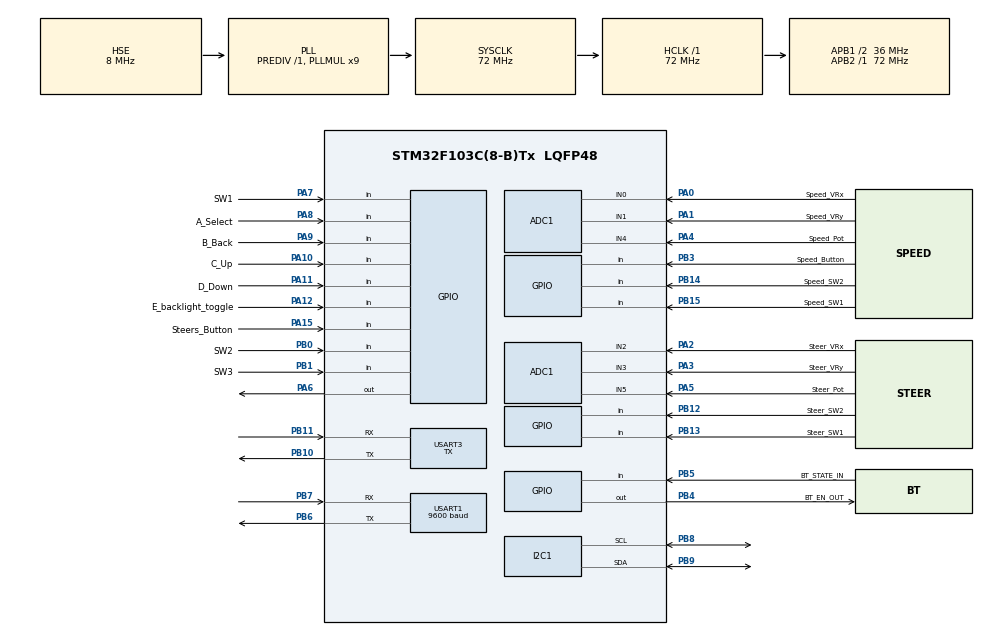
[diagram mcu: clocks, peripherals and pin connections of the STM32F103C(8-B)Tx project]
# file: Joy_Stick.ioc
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ADC1.Channel-0\#ChannelRegularConversion=ADC_CHANNEL_0
ADC1.Channel-10\#ChannelRegularConversion=ADC_CHANNEL_4
ADC1.Channel-11\#ChannelRegularConversion=ADC_CHANNEL_5
ADC1.Channel-7\#ChannelRegularConversion=ADC_CHANNEL_1
ADC1.Channel-8\#ChannelRegularConversion=ADC_CHANNEL_2
ADC1.Channel-9\#ChannelRegularConversion=ADC_CHANNEL_3
ADC1.ContinuousConvMode=ENABLE
ADC1.EnableAnalogWatchDog=false
ADC1.NbrOfConversion=6
ADC1.NbrOfConversionFlag=1
ADC1.Rank-0\#ChannelRegularConversion=1
ADC1.Rank-10\#ChannelRegularConversion=5
ADC1.Rank-11\#ChannelRegularConversion=6
ADC1.Rank-7\#ChannelRegularConversion=2
ADC1.Rank-8\#ChannelRegularConversion=3
ADC1.Rank-9\#ChannelRegularConversion=4
ADC1.SamplingTime-0\#ChannelRegularConversion=ADC_SAMPLETIME_1CYCLE_5
ADC1.SamplingTime-10\#ChannelRegularConversion=ADC_SAMPLETIME_1CYCLE_5
ADC1.SamplingTime-11\#ChannelRegularConversion=ADC_SAMPLETIME_1CYCLE_5
ADC1.SamplingTime-7\#ChannelRegularConversion=ADC_SAMPLETIME_1CYCLE_5
ADC1.SamplingTime-8\#ChannelRegularConversion=ADC_SAMPLETIME_1CYCLE_5
ADC1.SamplingTime-9\#ChannelRegularConversion=ADC_SAMPLETIME_1CYCLE_5
ADC1.master=1
Dma.ADC1.1.Direction=DMA_PERIPH_TO_MEMORY
Dma.ADC1.1.Instance=DMA1_Channel1
Dma.ADC1.1.MemDataAlignment=DMA_MDATAALIGN_WORD
Dma.ADC1.1.MemInc=DMA_MINC_ENABLE
Dma.ADC1.1.Mode=DMA_CIRCULAR
Dma.ADC1.1.PeriphDataAlignment=DMA_PDATAALIGN_WORD
Dma.ADC1.1.PeriphInc=DMA_PINC_DISABLE
Dma.ADC1.1.Priority=DMA_PRIORITY_LOW
Dma.Request0=USART3_TX
Dma.Request1=ADC1
Dma.Request2=USART1_TX
Dma.USART1_TX.2.Direction=DMA_MEMORY_TO_PERIPH
Dma.USART1_TX.2.Instance=DMA1_Channel4
Dma.USART1_TX.2.MemDataAlignment=DMA_MDATAALIGN_BYTE
Dma.USART1_TX.2.MemInc=DMA_MINC_ENABLE
Dma.USART1_TX.2.Mode=DMA_CIRCULAR
Dma.USART1_TX.2.PeriphDataAlignment=DMA_PDATAALIGN_BYTE
Dma.USART1_TX.2.PeriphInc=DMA_PINC_DISABLE
Dma.USART1_TX.2.Priority=DMA_PRIORITY_LOW
Dma.USART3_TX.0.Direction=DMA_MEMORY_TO_PERIPH
Dma.USART3_TX.0.Instance=DMA1_Channel2
Dma.USART3_TX.0.MemDataAlignment=DMA_MDATAALIGN_BYTE
Dma.USART3_TX.0.MemInc=DMA_MINC_ENABLE
Dma.USART3_TX.0.Mode=DMA_CIRCULAR
Dma.USART3_TX.0.PeriphDataAlignment=DMA_PDATAALIGN_BYTE
Dma.USART3_TX.0.PeriphInc=DMA_PINC_DISABLE
Dma.USART3_TX.0.Priority=DMA_PRIORITY_LOW
Mcu.Family=STM32F1
Mcu.Name=STM32F103C(8-B)Tx
Mcu.Package=LQFP48
NVIC.ADC1_2_IRQn=true\:0\:0\:false\:false\:true\:true\:true\:true
NVIC.DMA1_Channel1_IRQn=true\:0\:0\:false\:false\:true\:false\:true\:true
NVIC.DMA1_Channel2_IRQn=true\:0\:0\:false\:false\:true\:false\:true\:true
NVIC.DMA1_Channel4_IRQn=true\:0\:0\:false\:false\:true\:false\:true\:true
NVIC.PriorityGroup=NVIC_PRIORITYGROUP_4
NVIC.USART3_IRQn=true\:0\:0\:false\:false\:true\:true\:true\:true
PA0-WKUP.GPIO_Label=Speed_VRx
PA0-WKUP.Signal=ADCx_IN0
PA1.GPIO_Label=Speed_VRy
PA1.Signal=ADCx_IN1
PA10.GPIO_Label=C_Up
PA10.GPIO_PuPd=GPIO_PULLUP
PA10.Signal=GPIO_Input
PA11.GPIO_Label=D_Down
PA11.GPIO_PuPd=GPIO_PULLUP
PA11.Signal=GPIO_Input
PA12.GPIO_Label=E_backlight_toggle
PA12.GPIO_PuPd=GPIO_PULLDOWN
PA12.Signal=GPIO_Input
PA15.GPIO_Label=Steers_Button
PA15.GPIO_PuPd=GPIO_PULLUP
PA15.Signal=GPIO_Input
PA2.GPIO_Label=Steer_VRx
PA2.Signal=ADCx_IN2
PA3.GPIO_Label=Steer_VRy
PA3.Signal=ADCx_IN3
PA4.GPIO_Label=Speed_Pot
PA4.Signal=ADCx_IN4
PA5.GPIO_Label=Steer_Pot
PA5.Signal=ADCx_IN5
PA6.Signal=GPIO_Output
PA7.GPIO_Label=SW1
PA7.GPIO_PuPd=GPIO_PULLDOWN
PA7.Signal=GPIO_Input
PA8.GPIO_Label=A_Select
PA8.GPIO_PuPd=GPIO_PULLUP
PA8.Signal=GPIO_Input
PA9.GPIO_Label=B_Back
PA9.GPIO_PuPd=GPIO_PULLUP
PA9.Signal=GPIO_Input
PB0.GPIO_Label=SW2
PB0.GPIO_PuPd=GPIO_PULLDOWN
PB0.Signal=GPIO_Input
PB1.GPIO_Label=SW3
PB1.GPIO_PuPd=GPIO_PULLDOWN
PB1.Signal=GPIO_Input
PB10.Mode=Asynchronous
PB10.Signal=USART3_TX
PB11.Mode=Asynchronous
PB11.Signal=USART3_RX
PB12.GPIO_Label=Steer_SW2
PB12.GPIO_PuPd=GPIO_PULLDOWN
PB12.Signal=GPIO_Input
PB13.GPIO_Label=Steer_SW1
PB13.GPIO_PuPd=GPIO_PULLDOWN
PB13.Signal=GPIO_Input
PB14.GPIO_Label=Speed_SW2
PB14.GPIO_PuPd=GPIO_PULLDOWN
PB14.Signal=GPIO_Input
PB15.GPIO_Label=Speed_SW1
PB15.GPIO_PuPd=GPIO_PULLDOWN
PB15.Signal=GPIO_Input
PB3.GPIO_Label=Speed_Button
PB3.GPIO_PuPd=GPIO_PULLUP
PB3.Signal=GPIO_Input
PB4.GPIO_Label=BT_EN_OUT
PB4.Signal=GPIO_Output
PB5.GPIO_Label=BT_STATE_IN
PB5.Signal=GPIO_Input
PB6.Mode=Asynchronous
PB6.Signal=USART1_TX
PB7.Mode=Asynchronous
PB7.Signal=USART1_RX
PB8.Mode=I2C
PB8.Signal=I2C1_SCL
PB9.Mode=I2C
PB9.Signal=I2C1_SDA
PD0-OSC_IN.Mode=HSE-External-Oscillator
PD0-OSC_IN.Signal=RCC_OSC_IN
PD1-OSC_OUT.Mode=HSE-External-Oscillator
PD1-OSC_OUT.Signal=RCC_OSC_OUT
ProjectManager.HeapSize=0x200
ProjectManager.StackSize=0x400
ProjectManager.TargetToolchain=STM32CubeIDE
RCC.ADCPresc=RCC_ADCPCLK2_DIV6
RCC.AHBFreq_Value=72000000
RCC.APB1CLKDivider=RCC_HCLK_DIV2
RCC.APB1Freq_Value=36000000
RCC.APB1TimFreq_Value=72000000
RCC.APB2Freq_Value=72000000
RCC.APB2TimFreq_Value=72000000
RCC.HCLKFreq_Value=72000000
RCC.PLLMUL=RCC_PLL_MUL9
RCC.PLLSourceVirtual=RCC_PLLSOURCE_HSE
RCC.SYSCLKFreq_VALUE=72000000
RCC.SYSCLKSource=RCC_SYSCLKSOURCE_PLLCLK
RCC.USBFreq_Value=72000000
SH.ADCx_IN0.0=ADC1_IN0,IN0
SH.ADCx_IN1.0=ADC1_IN1,IN1
SH.ADCx_IN2.0=ADC1_IN2,IN2
SH.ADCx_IN3.0=ADC1_IN3,IN3
SH.ADCx_IN4.0=ADC1_IN4,IN4
SH.ADCx_IN5.0=ADC1_IN5,IN5
USART1.BaudRate=9600
USART1.VirtualMode=VM_ASYNC
USART3.Mode=MODE_TX
USART3.VirtualMode=VM_ASYNC
VP_SYS_VS_ND.Mode=No_Debug
board=custom

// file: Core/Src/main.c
/* USER CODE BEGIN Header */
/**
  ******************************************************************************
  * @file           : main.c
  * @brief          : Main program body
  ******************************************************************************
  * @attention
  *
  * Copyright (c) 2025 STMicroelectronics.
  * All rights reserved.
  *
  * This software is licensed under terms that can be found in the LICENSE file
  * in the root directory of this software component.
  * If no LICENSE file comes with this software, it is provided AS-IS.
  *
  ******************************************************************************
  */
/* USER CODE END Header */
#include "main.h"

/* USER CODE BEGIN Includes */
#include "stdio.h"
#include "../../ECUAL/I2C_LCD/I2C_LCD.h"
#include "switches.h"
#include "buttons.h"
#include "../../ECUAL/JOYSTICK/JOYSTICK.h"

#define MyI2C_LCD I2C_LCD_1
#define Joystick1 0
#define Joystick2 1
/* USER CODE END Includes */

/* USER CODE BEGIN PTD */

struct Packet{

	uint8_t isValid;
	uint32_t Header;
	uint32_t Headlights;
	uint32_t DriveMode;
	uint32_t WheelAngle;
	uint32_t WheelSpeed;
	uint32_t Tail;
	uint8_t Sent_received;

};
/* USER CODE END PTD */

ADC_HandleTypeDef hadc1;
DMA_HandleTypeDef hdma_adc1;

I2C_HandleTypeDef hi2c1;

UART_HandleTypeDef huart1;
UART_HandleTypeDef huart3;
DMA_HandleTypeDef hdma_usart1_tx;
DMA_HandleTypeDef hdma_usart3_tx;

/* USER CODE BEGIN PV */

//uint8_t Buffer[25] = {0};
//uint8_t Space[] = " - ";
//uint8_t StartMSG[] = "Starting I2C Scanning: \r\n";
//uint8_t EndMSG[] = "Done! \r\n\r\n";

// Word to transmit
uint8_t Package[80] = {'\0'};

//ADC Values
uint32_t ADC_results[6] = {2048};

/* USER CODE END PV */

void SystemClock_Config(void);
static void MX_GPIO_Init(void);
static void MX_DMA_Init(void);
static void MX_ADC1_Init(void);
static void MX_USART3_UART_Init(void);
static void MX_I2C1_Init(void);
static void MX_USART1_UART_Init(void);
/* USER CODE BEGIN PFP */

//Function to update the package details
static void sendPackage(void);

// Function to read switches

/* USER CODE END PFP */

/* USER CODE BEGIN 0 */
struct Packet txPacket;

/* USER CODE END 0 */

int main(void)
{

  /* MCU Configuration--------------------------------------------------------*/

  /* Reset of all peripherals, Initializes the Flash interface and the Systick. */
  HAL_Init();

  /* Configure the system clock */
  SystemClock_Config();

  /* Initialize all configured peripherals */
  MX_GPIO_Init();
  MX_DMA_Init();
  MX_ADC1_Init();
  MX_USART3_UART_Init();
  MX_I2C1_Init();
  MX_USART1_UART_Init();
  /* USER CODE BEGIN 2 */

  HAL_ADCEx_Calibration_Start(&hadc1);

  uint8_t previousMode = 0;

  txPacket.Header = 1100;
  txPacket.Tail = 0011;

  //LCD setup
  I2C_LCD_Init(MyI2C_LCD);
  I2C_LCD_Clear(MyI2C_LCD);

  /* USER CODE END 2 */

  /* Infinite loop */
  /* USER CODE BEGIN WHILE */

/*
  	I2C_LCD_Init(MyI2C_LCD);
	I2C_LCD_SetCursor(MyI2C_LCD, 0, 0);
	I2C_LCD_WriteString(MyI2C_LCD, "starting");
	I2C_LCD_SetCursor(MyI2C_LCD, 0, 1);
	I2C_LCD_WriteString(MyI2C_LCD, "++++++++");
	HAL_Delay(500);

	  uint8_t MSG[35] = {'\0'};
	  */

  //HAL_ADC_Start_DMA(&hadc1, ADC_results, 6);
  while (1)
  {

	  //0. poll switches
	  switches_Init();
	  buttons_Init();

	  // 1. If DriveMode = Idle, ADC DMA must stop. (SW50)
	  txPacket.DriveMode = driveMode;
	  if (txPacket.DriveMode == 0) {
		  HAL_ADC_Stop_DMA(&hadc1);
		  txPacket.WheelAngle = 2048;
		  txPacket.WheelSpeed = 2048;
		  previousMode = 0;
	  }

	  //else if ((txPacket.DriveMode != 0) && (previousMode = 0)) {
		  //HAL_ADC_Start_DMA(&hadc1, ADC_results, 6);
		  //previousMode = 1;
	  //}
	  else {
		  // DMA is already running
	  HAL_ADC_Start_DMA(&hadc1, ADC_results, 6);
	  		  previousMode = 1;
	  }

	  //2. if the screenLight switch is ON (SW3)
	  if (screenLight){
		  I2C_LCD_Backlight(MyI2C_LCD);
	  }
	  else I2C_LCD_NoBacklight(MyI2C_LCD);

	  //3. SW2 to be used for Headlights
	  txPacket.Headlights = SW2_variable;

	  /*
	  //I2C_LCD_SetCursor(MyI2C_LCD, 2, 0);
	  if (SW2_variable){
		  //I2C_LCD_WriteString(MyI2C_LCD, "1");
		  txPacket.Headlights = SW2_variable;
	  }
	  else {
		  //I2C_LCD_WriteString(MyI2C_LCD, "0");
		  txPacket.Headlights = SW2_variable;

	  }
	  */

	  //4. Write a function here for SW1

	  //5. SW40 controls which analog channel to use
	  if(txPacket.DriveMode !=0) {
		  switch(steeringMode)
		  {
			  case 0:
				  txPacket.WheelAngle = ADC_results[0];
				  txPacket.WheelSpeed = ADC_results[3];
				  break;

			  case 1:
				  //txPacket.WheelAngle = 1013;
				  //txPacket.WheelSpeed = 1014;
				  txPacket.WheelAngle = ADC_results[4];
				  txPacket.WheelSpeed = ADC_results[5];

				  break;

				  // Add case 2 here for the IMU
			  case 2:
				  txPacket.WheelAngle = 1015;
				  txPacket.WheelSpeed = 1016;
				  //txPacket.WheelAngle = ADC_results[0];
				  //txPacket.WheelSpeed = ADC_results[1];

				  break;
		  }
	  }

	  sendPackage();

    /* USER CODE END WHILE */

    /* USER CODE BEGIN 3 */

	  //ReadSwitches();

/*

	  //Printing switch states();
	  I2C_LCD_Clear(MyI2C_LCD);
	  I2C_LCD_SetCursor(MyI2C_LCD, 0, 0);

	 I2C_LCD_SetCursor(MyI2C_LCD, 0, 0);
	 if (steeringMode >1) I2C_LCD_WriteString(MyI2C_LCD, "2");
	 else if (steeringMode <1) I2C_LCD_WriteString(MyI2C_LCD, "0");
	 else I2C_LCD_WriteString(MyI2C_LCD, "1");

	 I2C_LCD_SetCursor(MyI2C_LCD, 1, 0);
	 if (SW1_variable)(I2C_LCD_WriteString(MyI2C_LCD, "1"));
	 else I2C_LCD_WriteString(MyI2C_LCD, "0");

	 I2C_LCD_SetCursor(MyI2C_LCD, 3, 0);
	 if (screenLight)(I2C_LCD_WriteString(MyI2C_LCD, "1"));
	 else I2C_LCD_WriteString(MyI2C_LCD, "0");

	 I2C_LCD_SetCursor(MyI2C_LCD, 4, 0);
     if (driveMode >1) I2C_LCD_WriteString(MyI2C_LCD, "2");
     else if (driveMode <1) I2C_LCD_WriteString(MyI2C_LCD, "0");
     else I2C_LCD_WriteString(MyI2C_LCD, "1");
*/
// printing button states

	I2C_LCD_SetCursor(MyI2C_LCD, 0, 1);
	 if (SELECT ) I2C_LCD_WriteString(MyI2C_LCD, "1");
	 else I2C_LCD_WriteString(MyI2C_LCD, "0");

	I2C_LCD_SetCursor(MyI2C_LCD, 1, 1);
	if (BACK)(I2C_LCD_WriteString(MyI2C_LCD, "1"));
	else I2C_LCD_WriteString(MyI2C_LCD, "0");

	I2C_LCD_SetCursor(MyI2C_LCD, 2, 1);
	if (UP)(I2C_LCD_WriteString(MyI2C_LCD, "1"));
	else I2C_LCD_WriteString(MyI2C_LCD, "0");

	I2C_LCD_SetCursor(MyI2C_LCD, 3, 1);
	if (DOWN)(I2C_LCD_WriteString(MyI2C_LCD, "1"));
	else I2C_LCD_WriteString(MyI2C_LCD, "0");

	I2C_LCD_SetCursor(MyI2C_LCD, 4, 1);
	if (BLUETOOTH) I2C_LCD_WriteString(MyI2C_LCD, "1");
	else I2C_LCD_WriteString(MyI2C_LCD, "0");

	I2C_LCD_SetCursor(MyI2C_LCD, 5, 1);
	if (SPEED_BUTTON) I2C_LCD_WriteString(MyI2C_LCD, "1");
	else I2C_LCD_WriteString(MyI2C_LCD, "0");

	I2C_LCD_SetCursor(MyI2C_LCD, 6, 1);
	if (STEER_BUTTON) I2C_LCD_WriteString(MyI2C_LCD, "1");
	else I2C_LCD_WriteString(MyI2C_LCD, "0");
/*
	//Print reading to screen
	I2C_LCD_SetCursor(MyI2C_LCD, 8, 0);
	JoyStick_Read(Joystick1, Joystick1_XY);
	I2C_LCD_WriteString(MyI2C_LCD, (char*)&Joystick1_XY[0]);

	I2C_LCD_SetCursor(MyI2C_LCD, 8, 1);
	JoyStick_Read(Joystick2, Joystick2_XY);
	I2C_LCD_WriteString(MyI2C_LCD, (char*)(intptr_t)Joystick2_XY[1]);

	sprintf(MSG, "Joystick1: = %hd \r\n", (uint8_t)Joystick1_XY[0]);
	HAL_UART_Transmit(&huart3, MSG, sizeof(MSG), 100);
	sprintf(MSG, "Joystick2: = %hd \r\n", (uint8_t)Joystick2_XY[1]);
	HAL_UART_Transmit(&huart3, MSG, sizeof(MSG), 100);
*/
	HAL_Delay(200);

  }
  /* USER CODE END 3 */
}

void SystemClock_Config(void)
{
  RCC_OscInitTypeDef RCC_OscInitStruct = {0};
  RCC_ClkInitTypeDef RCC_ClkInitStruct = {0};
  RCC_PeriphCLKInitTypeDef PeriphClkInit = {0};

  /** Initializes the RCC Oscillators according to the specified parameters
  * in the RCC_OscInitTypeDef structure.
  */
  RCC_OscInitStruct.OscillatorType = RCC_OSCILLATORTYPE_HSE;
  RCC_OscInitStruct.HSEState = RCC_HSE_ON;
  RCC_OscInitStruct.HSEPredivValue = RCC_HSE_PREDIV_DIV1;
  RCC_OscInitStruct.HSIState = RCC_HSI_ON;
  RCC_OscInitStruct.PLL.PLLState = RCC_PLL_ON;
  RCC_OscInitStruct.PLL.PLLSource = RCC_PLLSOURCE_HSE;
  RCC_OscInitStruct.PLL.PLLMUL = RCC_PLL_MUL9;
  if (HAL_RCC_OscConfig(&RCC_OscInitStruct) != HAL_OK)
  {
    Error_Handler();
  }

  /** Initializes the CPU, AHB and APB buses clocks
  */
  RCC_ClkInitStruct.ClockType = RCC_CLOCKTYPE_HCLK|RCC_CLOCKTYPE_SYSCLK
                              |RCC_CLOCKTYPE_PCLK1|RCC_CLOCKTYPE_PCLK2;
  RCC_ClkInitStruct.SYSCLKSource = RCC_SYSCLKSOURCE_PLLCLK;
  RCC_ClkInitStruct.AHBCLKDivider = RCC_SYSCLK_DIV1;
  RCC_ClkInitStruct.APB1CLKDivider = RCC_HCLK_DIV2;
  RCC_ClkInitStruct.APB2CLKDivider = RCC_HCLK_DIV1;

  if (HAL_RCC_ClockConfig(&RCC_ClkInitStruct, FLASH_LATENCY_2) != HAL_OK)
  {
    Error_Handler();
  }
  PeriphClkInit.PeriphClockSelection = RCC_PERIPHCLK_ADC;
  PeriphClkInit.AdcClockSelection = RCC_ADCPCLK2_DIV6;
  if (HAL_RCCEx_PeriphCLKConfig(&PeriphClkInit) != HAL_OK)
  {
    Error_Handler();
  }
}

static void MX_ADC1_Init(void)
{

  ADC_ChannelConfTypeDef sConfig = {0};

  /** Common config
  */
  hadc1.Instance = ADC1;
  hadc1.Init.ScanConvMode = ADC_SCAN_ENABLE;
  hadc1.Init.ContinuousConvMode = ENABLE;
  hadc1.Init.DiscontinuousConvMode = DISABLE;
  hadc1.Init.ExternalTrigConv = ADC_SOFTWARE_START;
  hadc1.Init.DataAlign = ADC_DATAALIGN_RIGHT;
  hadc1.Init.NbrOfConversion = 6;
  if (HAL_ADC_Init(&hadc1) != HAL_OK)
  {
    Error_Handler();
  }

  /** Configure Regular Channel
  */
  sConfig.Channel = ADC_CHANNEL_0;
  sConfig.Rank = ADC_REGULAR_RANK_1;
  sConfig.SamplingTime = ADC_SAMPLETIME_1CYCLE_5;
  if (HAL_ADC_ConfigChannel(&hadc1, &sConfig) != HAL_OK)
  {
    Error_Handler();
  }

  /** Configure Regular Channel
  */
  sConfig.Channel = ADC_CHANNEL_1;
  sConfig.Rank = ADC_REGULAR_RANK_2;
  if (HAL_ADC_ConfigChannel(&hadc1, &sConfig) != HAL_OK)
  {
    Error_Handler();
  }

  /** Configure Regular Channel
  */
  sConfig.Channel = ADC_CHANNEL_2;
  sConfig.Rank = ADC_REGULAR_RANK_3;
  if (HAL_ADC_ConfigChannel(&hadc1, &sConfig) != HAL_OK)
  {
    Error_Handler();
  }

  /** Configure Regular Channel
  */
  sConfig.Channel = ADC_CHANNEL_3;
  sConfig.Rank = ADC_REGULAR_RANK_4;
  if (HAL_ADC_ConfigChannel(&hadc1, &sConfig) != HAL_OK)
  {
    Error_Handler();
  }

  /** Configure Regular Channel
  */
  sConfig.Channel = ADC_CHANNEL_4;
  sConfig.Rank = ADC_REGULAR_RANK_5;
  if (HAL_ADC_ConfigChannel(&hadc1, &sConfig) != HAL_OK)
  {
    Error_Handler();
  }

  /** Configure Regular Channel
  */
  sConfig.Channel = ADC_CHANNEL_5;
  sConfig.Rank = ADC_REGULAR_RANK_6;
  if (HAL_ADC_ConfigChannel(&hadc1, &sConfig) != HAL_OK)
  {
    Error_Handler();
  }

}

static void MX_I2C1_Init(void)
{

  hi2c1.Instance = I2C1;
  hi2c1.Init.ClockSpeed = 100000;
  hi2c1.Init.DutyCycle = I2C_DUTYCYCLE_2;
  hi2c1.Init.OwnAddress1 = 0;
  hi2c1.Init.AddressingMode = I2C_ADDRESSINGMODE_7BIT;
  hi2c1.Init.DualAddressMode = I2C_DUALADDRESS_DISABLE;
  hi2c1.Init.OwnAddress2 = 0;
  hi2c1.Init.GeneralCallMode = I2C_GENERALCALL_DISABLE;
  hi2c1.Init.NoStretchMode = I2C_NOSTRETCH_DISABLE;
  if (HAL_I2C_Init(&hi2c1) != HAL_OK)
  {
    Error_Handler();
  }

}

static void MX_USART1_UART_Init(void)
{

  huart1.Instance = USART1;
  huart1.Init.BaudRate = 9600;
  huart1.Init.WordLength = UART_WORDLENGTH_8B;
  huart1.Init.StopBits = UART_STOPBITS_1;
  huart1.Init.Parity = UART_PARITY_NONE;
  huart1.Init.Mode = UART_MODE_TX_RX;
  huart1.Init.HwFlowCtl = UART_HWCONTROL_NONE;
  huart1.Init.OverSampling = UART_OVERSAMPLING_16;
  if (HAL_UART_Init(&huart1) != HAL_OK)
  {
    Error_Handler();
  }

}

static void MX_USART3_UART_Init(void)
{

  huart3.Instance = USART3;
  huart3.Init.BaudRate = 115200;
  huart3.Init.WordLength = UART_WORDLENGTH_8B;
  huart3.Init.StopBits = UART_STOPBITS_1;
  huart3.Init.Parity = UART_PARITY_NONE;
  huart3.Init.Mode = UART_MODE_TX;
  huart3.Init.HwFlowCtl = UART_HWCONTROL_NONE;
  huart3.Init.OverSampling = UART_OVERSAMPLING_16;
  if (HAL_UART_Init(&huart3) != HAL_OK)
  {
    Error_Handler();
  }

}

static void MX_DMA_Init(void)
{

  /* DMA controller clock enable */
  __HAL_RCC_DMA1_CLK_ENABLE();

  /* DMA interrupt init */
  /* DMA1_Channel1_IRQn interrupt configuration */
  HAL_NVIC_SetPriority(DMA1_Channel1_IRQn, 0, 0);
  HAL_NVIC_EnableIRQ(DMA1_Channel1_IRQn);
  /* DMA1_Channel2_IRQn interrupt configuration */
  HAL_NVIC_SetPriority(DMA1_Channel2_IRQn, 0, 0);
  HAL_NVIC_EnableIRQ(DMA1_Channel2_IRQn);
  /* DMA1_Channel4_IRQn interrupt configuration */
  HAL_NVIC_SetPriority(DMA1_Channel4_IRQn, 0, 0);
  HAL_NVIC_EnableIRQ(DMA1_Channel4_IRQn);

}

static void MX_GPIO_Init(void)
{
  GPIO_InitTypeDef GPIO_InitStruct = {0};

  /* GPIO Ports Clock Enable */
  __HAL_RCC_GPIOD_CLK_ENABLE();
  __HAL_RCC_GPIOA_CLK_ENABLE();
  __HAL_RCC_GPIOB_CLK_ENABLE();

  /*Configure GPIO pin Output Level */
  HAL_GPIO_WritePin(GPIOA, GPIO_PIN_6, GPIO_PIN_RESET);

  /*Configure GPIO pin Output Level */
  HAL_GPIO_WritePin(BT_EN_OUT_GPIO_Port, BT_EN_OUT_Pin, GPIO_PIN_RESET);

  /*Configure GPIO pin : PA6 */
  GPIO_InitStruct.Pin = GPIO_PIN_6;
  GPIO_InitStruct.Mode = GPIO_MODE_OUTPUT_PP;
  GPIO_InitStruct.Pull = GPIO_NOPULL;
  GPIO_InitStruct.Speed = GPIO_SPEED_FREQ_LOW;
  HAL_GPIO_Init(GPIOA, &GPIO_InitStruct);

  /*Configure GPIO pins : SW1_Pin E_backlight_toggle_Pin */
  GPIO_InitStruct.Pin = SW1_Pin|E_backlight_toggle_Pin;
  GPIO_InitStruct.Mode = GPIO_MODE_INPUT;
  GPIO_InitStruct.Pull = GPIO_PULLDOWN;
  HAL_GPIO_Init(GPIOA, &GPIO_InitStruct);

  /*Configure GPIO pins : SW2_Pin SW3_Pin Steer_SW2_Pin Steer_SW1_Pin
                           Speed_SW2_Pin Speed_SW1_Pin */
  GPIO_InitStruct.Pin = SW2_Pin|SW3_Pin|Steer_SW2_Pin|Steer_SW1_Pin
                          |Speed_SW2_Pin|Speed_SW1_Pin;
  GPIO_InitStruct.Mode = GPIO_MODE_INPUT;
  GPIO_InitStruct.Pull = GPIO_PULLDOWN;
  HAL_GPIO_Init(GPIOB, &GPIO_InitStruct);

  /*Configure GPIO pins : A_Select_Pin B_Back_Pin C_Up_Pin D_Down_Pin
                           Steers_Button_Pin */
  GPIO_InitStruct.Pin = A_Select_Pin|B_Back_Pin|C_Up_Pin|D_Down_Pin
                          |Steers_Button_Pin;
  GPIO_InitStruct.Mode = GPIO_MODE_INPUT;
  GPIO_InitStruct.Pull = GPIO_PULLUP;
  HAL_GPIO_Init(GPIOA, &GPIO_InitStruct);

  /*Configure GPIO pin : Speed_Button_Pin */
  GPIO_InitStruct.Pin = Speed_Button_Pin;
  GPIO_InitStruct.Mode = GPIO_MODE_INPUT;
  GPIO_InitStruct.Pull = GPIO_PULLUP;
  HAL_GPIO_Init(Speed_Button_GPIO_Port, &GPIO_InitStruct);

  /*Configure GPIO pin : BT_EN_OUT_Pin */
  GPIO_InitStruct.Pin = BT_EN_OUT_Pin;
  GPIO_InitStruct.Mode = GPIO_MODE_OUTPUT_PP;
  GPIO_InitStruct.Pull = GPIO_NOPULL;
  GPIO_InitStruct.Speed = GPIO_SPEED_FREQ_LOW;
  HAL_GPIO_Init(BT_EN_OUT_GPIO_Port, &GPIO_InitStruct);

  /*Configure GPIO pin : BT_STATE_IN_Pin */
  GPIO_InitStruct.Pin = BT_STATE_IN_Pin;
  GPIO_InitStruct.Mode = GPIO_MODE_INPUT;
  GPIO_InitStruct.Pull = GPIO_NOPULL;
  HAL_GPIO_Init(BT_STATE_IN_GPIO_Port, &GPIO_InitStruct);

}

/* USER CODE BEGIN 4 */

void HAL_ADC_ConvCpltCallback(ADC_HandleTypeDef* hadc){
	txPacket.isValid = 1;
	txPacket.Sent_received = 0;
	//sprintf((char*)Package, "ADC %u\r\n",(unsigned int)ADC_results);
	/*
	sprintf((char*)Package, "ADC %04u %04u %04u %04u %04u %04u\n",
			(unsigned int)ADC_results[0],
			(unsigned int)ADC_results[1],
			(unsigned int)ADC_results[2],
			(unsigned int)ADC_results[3],
			(unsigned int)ADC_results[4],
			(unsigned int)ADC_results[5]);
			*/
	//HAL_UART_Transmit_DMA(&huart3, Package, sizeof(Package));

}

void HAL_UART_TxCpltCallback(UART_HandleTypeDef* huart){
	txPacket.isValid = 0;
	txPacket.Sent_received = 1;
}

void sendPackage(void){
	sprintf((char*)Package, "%04u %04u %04u %04u %04u %04u\n",
			(unsigned int)txPacket.Header,
			(unsigned int)txPacket.Headlights,
			(unsigned int)txPacket.DriveMode,
			(unsigned int)txPacket.WheelAngle,
			(unsigned int)txPacket.WheelSpeed,
			(unsigned int)txPacket.Tail);
	//HAL_UART_Transmit_DMA(&huart3, Package, sizeof(Package));
	HAL_UART_Transmit_DMA(&huart1, Package, sizeof(Package));
}

/* USER CODE END 4 */

void Error_Handler(void)
{
  __disable_irq();
  while (1)
  {
  }
}
